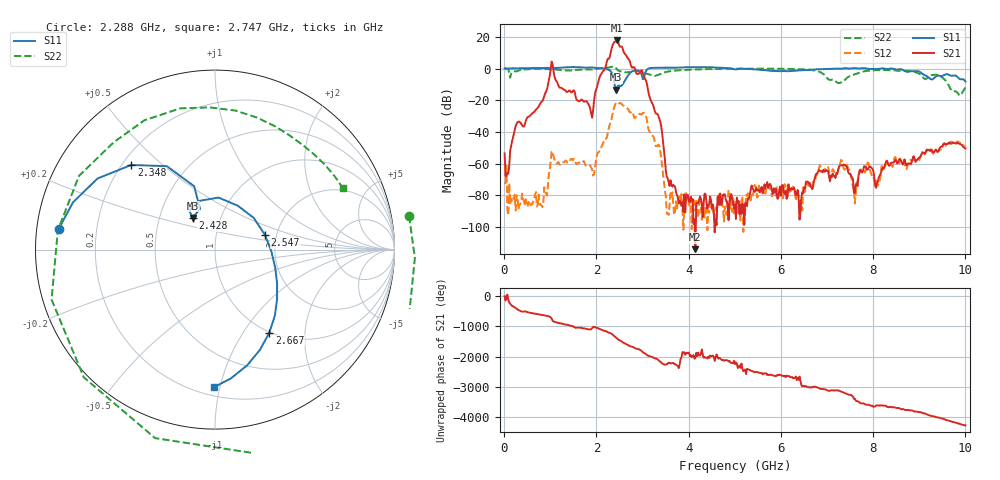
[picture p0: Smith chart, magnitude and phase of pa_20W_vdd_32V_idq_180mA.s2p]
! ZVM, 3.55
! symbol freq-unit parameter-type data-format keyword impedance-ohm
#  HZ  S  RI  R  50
! freq  reS11  imS11  reS21  imS21  reS12  imS12  reS22  imS22
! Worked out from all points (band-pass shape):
!   501 points, 10 MHz to 10 GHz, reference 50 ohm
!   highest |S21| = 17.80 dB at 2.448 GHz (marker M1); lowest = -114.2 dB at 4.146 GHz (marker M2)
!   |S21| within 3 dB of the highest: 2.353 GHz to 2.494 GHz (141.1 MHz wide, 5.82 % of centre)
!   lowest |S11| = -13.3 dB at 2.428 GHz (marker M3), VSWR 1.55, Z = 36.7 + j13.6 ohm
!   |S11| at or under -10 dB: 2.395 GHz to 2.568 GHz (173.2 MHz wide, 6.98 % of centre)
!   |S22| runs from -17.0 to 1.3 dB; largest |S21 - S12| = 7.8
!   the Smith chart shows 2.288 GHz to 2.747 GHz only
!   S11 on the Smith chart (normalised r, x): 2.288 GHz: 0.06, +0.07; 2.348 GHz: 0.24, +0.40; 2.428 GHz: 0.73, +0.27; 2.547 GHz: 1.74, +0.31; 2.667 GHz: 0.99, -1.32; 2.747 GHz: 0.26, -0.96
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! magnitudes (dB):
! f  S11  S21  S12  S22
! 10 MHz  0.0  -53.6  -72.7  0.1
! 69.94 MHz  0.0  -66.1  -89.1  -0.1
! 289.7 MHz  0.2  -33.9  -81.4  -1.6
! 809.2 MHz  0.3  -21.0  -86.5  -0.2
! 1.029 GHz  -0.2  4.5  -52.5  -0.6
! 1.688 GHz  0.7  -19.6  -59.8  -0.6
! 1.908 GHz  0.8  -31.0  -63.9  -0.5
! 2.288 GHz  -1.1  7.1  -35.5  0.8
! 2.348 GHz  -3.6  14.4  -29.0  1.2
! 2.428 GHz  -13.3  17.2  -21.6  0.2
! 2.448 GHz  -11.7  17.8  -21.2  -0.4
! 2.547 GHz  -10.7  14.0  -22.3  -1.8
! 2.667 GHz  -5.1  7.2  -25.1  -2.4
! 2.747 GHz  -2.3  2.1  -27.6  -2.0
! 3.347 GHz  0.6  -30.0  -48.1  -3.9
! 3.546 GHz  0.6  -69.5  -91.2  -1.9
! 4.146 GHz  0.9  -114.2  -89.9  -0.6
! 5.005 GHz  -0.5  -85.8  -84.3  -0.1
! 6.683 GHz  -0.7  -76.2  -73.1  -1.0
! 7.602 GHz  0.3  -78.6  -85.2  -3.6
! 8.342 GHz  -0.2  -61.4  -60.4  -1.0
! 10 GHz  -8.1  -50.5  -49.2  -11.8
